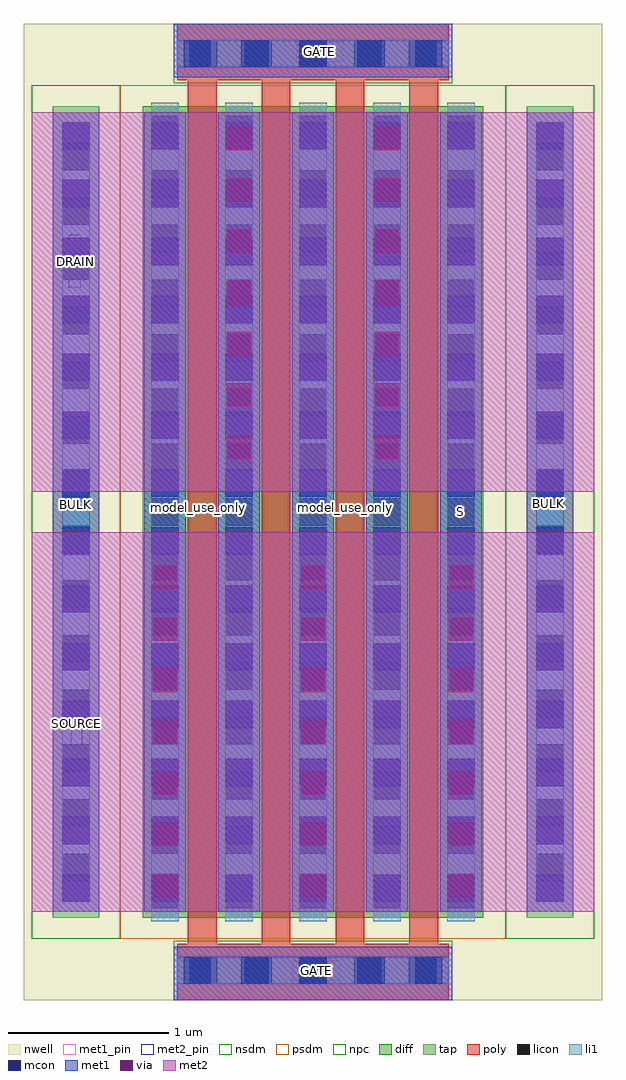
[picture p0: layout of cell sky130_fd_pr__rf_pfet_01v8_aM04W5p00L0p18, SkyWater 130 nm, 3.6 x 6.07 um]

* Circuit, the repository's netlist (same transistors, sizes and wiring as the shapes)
* Copyright 2020 The SkyWater PDK Authors
*
* Licensed under the Apache License, Version 2.0 (the "License");
* you may not use this file except in compliance with the License.
* You may obtain a copy of the License at
*
*     https://www.apache.org/licenses/LICENSE-2.0
*
* Unless required by applicable law or agreed to in writing, software
* distributed under the License is distributed on an "AS IS" BASIS,
* WITHOUT WARRANTIES OR CONDITIONS OF ANY KIND, either express or implied.
* See the License for the specific language governing permissions and
* limitations under the License.
*
* SPDX-License-Identifier: Apache-2.0


.subckt sky130_fd_pr__rf_pfet_01v8_aM04W5p00L0p18 BULK DRAIN GATE SOURCE
X0 SOURCE GATE DRAIN BULK sky130_fd_pr__pfet_01v8 w=5.05e+06u l=180000u
X1 SOURCE GATE DRAIN BULK sky130_fd_pr__pfet_01v8 w=5.05e+06u l=180000u
X2 DRAIN GATE SOURCE BULK sky130_fd_pr__pfet_01v8 w=5.05e+06u l=180000u
X3 DRAIN GATE SOURCE BULK sky130_fd_pr__pfet_01v8 w=5.05e+06u l=180000u
.ends

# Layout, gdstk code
import gdstk
lib = gdstk.Library(unit=1e-6, precision=1e-09)
def R(c, l, rs):  # rectangles x0, y0, x1, y1
    for r in rs: c.add(gdstk.rectangle(r[:2], r[2:], *l))
def A(c, l, x, y, w, h, nx, ny, dx, dy):  # array of equal rectangles
    R(c, l, [(x+i*dx, y+j*dy, x+i*dx+w, y+j*dy+h) for i in range(nx) for j in range(ny)])
nwell = (64, 20)
diff = (65, 20)
tap = (65, 44)
poly = (66, 20)
licon = (66, 44)
li1 = (67, 20)
mcon = (67, 44)
met1_pin = (68, 16)
met1 = (68, 20)
via = (68, 44)
met2_pin = (69, 16)
met2 = (69, 20)
nsdm = (93, 44)
psdm = (94, 20)
npc = (95, 20)

sky130_fd_pr__rf_pfet_01 = lib.new_cell('sky130_fd_pr__rf_pfet_01v8_aM04W5p00L0p18')
R(sky130_fd_pr__rf_pfet_01, nwell, [(0,0,3.6,6.07)])
R(sky130_fd_pr__rf_pfet_01, diff, [(0.74,0.51,2.86,5.56)])
R(sky130_fd_pr__rf_pfet_01, tap, [(0.18,0.51,0.47,5.56), (3.13,0.51,3.42,5.56)])
A(sky130_fd_pr__rf_pfet_01, poly, 1.02, 0.35, 0.18, 5.37, 4, 1, 0.46, 0)
R(sky130_fd_pr__rf_pfet_01, poly, [(0.955,0,2.645,0.35), (0.955,5.72,2.645,6.07)])
A(sky130_fd_pr__rf_pfet_01, licon, 1.035, 0.1, 0.17, 0.17, 5, 2, 0.34, 5.7)
A(sky130_fd_pr__rf_pfet_01, licon, 0.795, 0.57, 0.17, 0.17, 5, 15, 0.46, 0.34)
A(sky130_fd_pr__rf_pfet_01, licon, 0.24, 0.74, 0.17, 0.17, 1, 14, 0, 0.34)
A(sky130_fd_pr__rf_pfet_01, licon, 3.19, 0.74, 0.17, 0.17, 1, 14, 0, 0.34)
A(sky130_fd_pr__rf_pfet_01, li1, 0.795, 0.49, 0.17, 5.09, 5, 1, 0.46, 0)
A(sky130_fd_pr__rf_pfet_01, li1, 0.795, 1.69, 0.17, 2.69, 5, 1, 0.46, 0)
R(sky130_fd_pr__rf_pfet_01, li1, [(0.955,0.1,2.645,0.27), (0.995,0.1,2.605,0.27), (0.24,0.61,0.41,5.46), (3.19,0.61,3.36,5.46), (0.24,0.66,0.41,5.41), (3.19,0.66,3.36,5.41), (0.24,1.68,0.41,4.39), (3.19,1.68,3.36,4.39), (0.955,5.8,2.645,5.97), (0.995,5.8,2.605,5.97)])
A(sky130_fd_pr__rf_pfet_01, mcon, 0.995, 0.1, 0.17, 0.17, 5, 2, 0.36, 5.7)
A(sky130_fd_pr__rf_pfet_01, mcon, 0.24, 0.61, 0.17, 0.17, 1, 14, 0, 0.36)
A(sky130_fd_pr__rf_pfet_01, mcon, 0.795, 0.61, 0.17, 0.17, 5, 14, 0.46, 0.36)
A(sky130_fd_pr__rf_pfet_01, mcon, 3.19, 0.61, 0.17, 0.17, 1, 14, 0, 0.36)
R(sky130_fd_pr__rf_pfet_01, met1_pin, [(1.675,0.12,1.965,0.245), (0.24,3.05,0.41,3.105), (3.18,3.06,3.35,3.115), (1.695,5.835,1.985,5.96)])
A(sky130_fd_pr__rf_pfet_01, met1, 0.75, 0.55, 0.26, 2.24, 3, 1, 0.92, 0)
A(sky130_fd_pr__rf_pfet_01, met1, 0.75, 0.55, 0.26, 4.97, 5, 1, 0.46, 0)
R(sky130_fd_pr__rf_pfet_01, met1, [(0.935,0,2.665,0.33), (0.18,0.55,0.47,5.52), (3.13,0.55,3.42,5.52), (1.21,3.28,1.47,5.52), (2.13,3.28,2.39,5.52), (0.935,5.74,2.665,6.07)])
A(sky130_fd_pr__rf_pfet_01, via, 0.805, 0.635, 0.15, 0.15, 3, 7, 0.92, 0.32)
A(sky130_fd_pr__rf_pfet_01, via, 1.265, 3.365, 0.15, 0.15, 1, 7, 0, 0.32)
A(sky130_fd_pr__rf_pfet_01, via, 2.185, 3.365, 0.15, 0.15, 1, 7, 0, 0.32)
R(sky130_fd_pr__rf_pfet_01, met2_pin, [(0.295,1.56,0.365,1.875), (0.28,4.43,0.355,4.76)])
A(sky130_fd_pr__rf_pfet_01, met2, 0.75, 0.55, 0.26, 2.24, 3, 1, 0.92, 0)
R(sky130_fd_pr__rf_pfet_01, met2, [(0.05,0.55,3.55,2.91), (0.05,3.16,3.55,5.52), (1.21,3.28,1.47,5.52), (2.13,3.28,2.39,5.52)])
R(sky130_fd_pr__rf_pfet_01, nsdm, [(0.05,0.38,0.6,5.69), (3,0.38,3.55,5.69)])
R(sky130_fd_pr__rf_pfet_01, psdm, [(0.6,0.38,3,5.69)])
R(sky130_fd_pr__rf_pfet_01, npc, [(0.935,0,2.665,0.37), (0.935,5.7,2.665,6.07)])
sky130_fd_pr__rf_pfet_01.add(gdstk.Label('model_use_only', (2,3.06), layer=66, texttype=83))
sky130_fd_pr__rf_pfet_01.add(gdstk.Label('model_use_only', (2.465,3.06), layer=66, texttype=83))
sky130_fd_pr__rf_pfet_01.add(gdstk.Label('model_use_only', (1.085,3.06), layer=66, texttype=83))
sky130_fd_pr__rf_pfet_01.add(gdstk.Label('model_use_only', (1.545,3.06), layer=66, texttype=83))
sky130_fd_pr__rf_pfet_01.add(gdstk.Label('S', (0.88,3.035), layer=83, texttype=44))
sky130_fd_pr__rf_pfet_01.add(gdstk.Label('S', (0.88,3.035), layer=83, texttype=44))
sky130_fd_pr__rf_pfet_01.add(gdstk.Label('S', (1.34,3.035), layer=83, texttype=44))
sky130_fd_pr__rf_pfet_01.add(gdstk.Label('D', (1.34,3.035), layer=83, texttype=44))
sky130_fd_pr__rf_pfet_01.add(gdstk.Label('S', (1.8,3.035), layer=83, texttype=44))
sky130_fd_pr__rf_pfet_01.add(gdstk.Label('S', (1.8,3.035), layer=83, texttype=44))
sky130_fd_pr__rf_pfet_01.add(gdstk.Label('S', (2.26,3.035), layer=83, texttype=44))
sky130_fd_pr__rf_pfet_01.add(gdstk.Label('D', (2.26,3.035), layer=83, texttype=44))
sky130_fd_pr__rf_pfet_01.add(gdstk.Label('S', (2.72,3.035), layer=83, texttype=44))
sky130_fd_pr__rf_pfet_01.add(gdstk.Label('BULK', (0.325,3.08), layer=68, texttype=5))
sky130_fd_pr__rf_pfet_01.add(gdstk.Label('GATE', (1.84,5.9), layer=68, texttype=5))
sky130_fd_pr__rf_pfet_01.add(gdstk.Label('GATE', (1.82,0.185), layer=68, texttype=5))
sky130_fd_pr__rf_pfet_01.add(gdstk.Label('BULK', (3.265,3.09), layer=68, texttype=5))
sky130_fd_pr__rf_pfet_01.add(gdstk.Label('DRAIN', (0.32,4.595), layer=69, texttype=5))
sky130_fd_pr__rf_pfet_01.add(gdstk.Label('SOURCE', (0.33,1.72), layer=69, texttype=5))

lib.write_gds('sky130_fd_pr__rf_pfet_01v8_aM04W5p00L0p18.gds')
